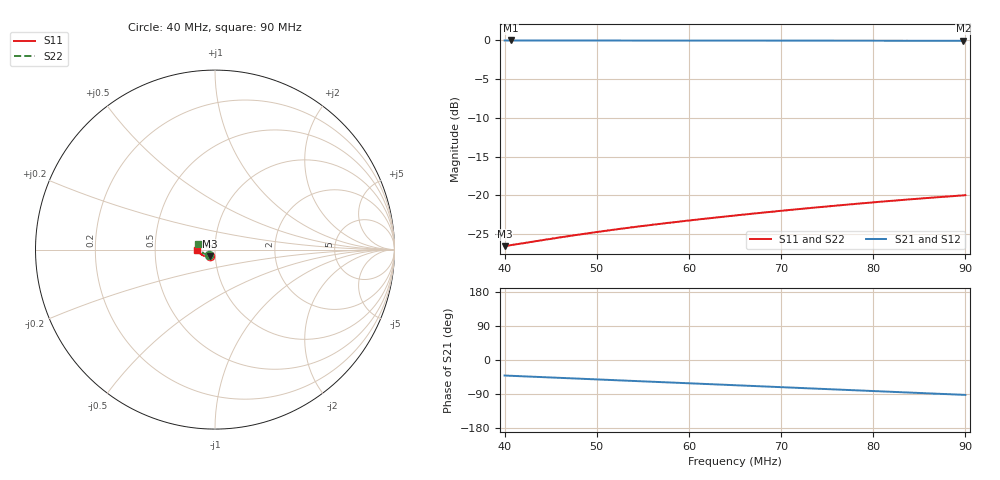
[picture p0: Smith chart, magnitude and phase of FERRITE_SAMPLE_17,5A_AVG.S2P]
!Agilent Technologies,E5061B,MY49102235,A.02.00
!Date: Mon Jul 03 10:58:19 2023
!Data & Calibration Information:
!Freq	S11:SOLT2(ON)	S21:SOLT2(ON)	S12:SOLT2(ON)	S22:SOLT2(ON)
# Hz S RI R 50
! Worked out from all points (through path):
!   1600 points, 40 MHz to 90 MHz, reference 50 ohm
!   highest |S21| = -0.01 dB at 40.69 MHz (marker M1); lowest = -0.1 dB at 89.78 MHz (marker M2)
!   group delay of S21, straight-line fit = 2.84 ns
!   lowest |S11| = -26.6 dB at 40 MHz (marker M3), VSWR 1.10, Z = 47 - j3.4 ohm
!   |S11| at or under -10 dB: start of sweep to end of sweep
!   |S22| runs from -26.7 to -20.0 dB; largest |S21 - S12| = 0.0015
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4e7  -0.0301 -0.0361  0.7543 -0.6552  0.7544 -0.6542  -0.0348 -0.0305
4.068793e7  -0.031 -0.0363  0.7464 -0.6644  0.7465 -0.6634  -0.0357 -0.0305
4.300188e7  -0.0342 -0.0368  0.7179 -0.6945  0.7182 -0.6938  -0.0394 -0.0303
4.444028e7  -0.0361 -0.0371  0.6997 -0.7125  0.7 -0.712  -0.0417 -0.0301
4.834897e7  -0.0416 -0.0377  0.6482 -0.7593  0.6482 -0.7589  -0.0478 -0.0287
5.000625e7  -0.0441 -0.0378  0.6253 -0.7781  0.6253 -0.7776  -0.0504 -0.0278
5.225766e7  -0.0474 -0.0377  0.5933 -0.8026  0.5933 -0.802  -0.0538 -0.0264
5.482176e7  -0.051 -0.0373  0.5558 -0.8285  0.5559 -0.8282  -0.0577 -0.0245
5.666667e7  -0.0538 -0.0369  0.5282 -0.8461  0.5281 -0.8456  -0.0604 -0.0228
6.082552e7  -0.0602 -0.0353  0.4641 -0.8826  0.464 -0.882  -0.0661 -0.0189
6.501563e7  -0.0668 -0.0324  0.3966 -0.9148  0.397 -0.9139  -0.0717 -0.0143
6.901814e7  -0.073 -0.0288  0.3303 -0.9407  0.3308 -0.9399  -0.077 -0.00924
7.133208e7  -0.0764 -0.0264  0.2909 -0.9535  0.2916 -0.9526  -0.0799 -0.00588
7.33646e7  -0.0796 -0.0242  0.2558 -0.9633  0.2567 -0.9625  -0.0824 -0.00282
7.533458e7  -0.0822 -0.0217  0.2217 -0.9715  0.2223 -0.9709  -0.0844 0.00032
7.746091e7  -0.0852 -0.019  0.1846 -0.9788  0.1851 -0.9783  -0.0869 0.00402
7.936836e7  -0.0879 -0.0166  0.1509 -0.984  0.1515 -0.9837  -0.0887 0.00764
8.16823e7  -0.0909 -0.0135  0.1102 -0.989  0.1107 -0.9888  -0.0908 0.0121
8.358974e7  -0.0932 -0.0107  0.0765 -0.992  0.077 -0.9915  -0.0923 0.016
8.596623e7  -0.0959 -0.00711  0.0346 -0.9939  0.0349 -0.9935  -0.0936 0.0211
8.978111e7  -0.1 -0.000858  -0.0327 -0.9932  -0.0324 -0.9929  -0.0954 0.0294
9e7  -0.1002 -0.000402  -0.0363 -0.9931  -0.0362 -0.9926  -0.0955 0.03
